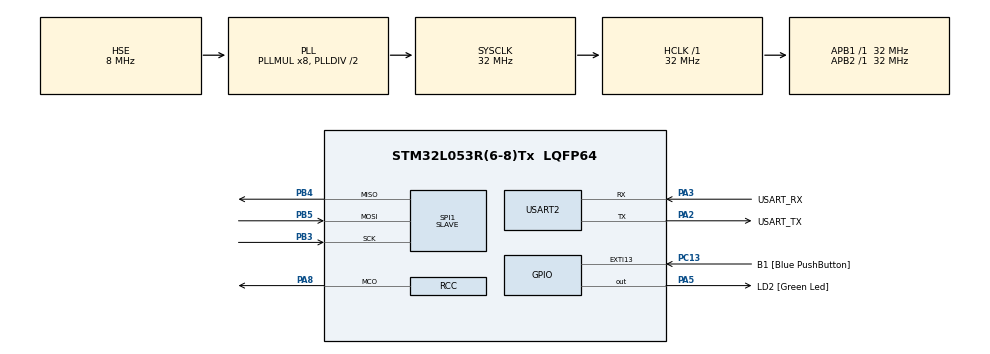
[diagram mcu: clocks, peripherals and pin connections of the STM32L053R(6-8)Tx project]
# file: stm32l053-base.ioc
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Mcu.Family=STM32L0
Mcu.Name=STM32L053R(6-8)Tx
Mcu.Package=LQFP64
NVIC.RCC_CRS_IRQn=true\:0\:0\:false\:false\:true\:true\:false
NVIC.SPI1_IRQn=true\:0\:0\:false\:false\:true\:true\:true
PA13.GPIO_Label=TMS
PA13.Mode=Serial_Wire
PA13.Signal=SYS_SWDIO
PA14.GPIO_Label=TCK
PA14.Mode=Serial_Wire
PA14.Signal=SYS_SWCLK
PA2.GPIO_Label=USART_TX
PA2.Mode=Asynchronous
PA2.Signal=USART2_TX
PA3.GPIO_Label=USART_RX
PA3.Mode=Asynchronous
PA3.Signal=USART2_RX
PA5.GPIO_Label=LD2 [Green Led]
PA5.Signal=GPIO_Output
PA8.GPIO_Speed=GPIO_SPEED_FREQ_VERY_HIGH
PA8.Mode=Clock-out
PA8.Signal=RCC_MCO
PB3.Mode=Full_Duplex_Slave
PB3.Signal=SPI1_SCK
PB4.Mode=Full_Duplex_Slave
PB4.Signal=SPI1_MISO
PB5.Mode=Full_Duplex_Slave
PB5.Signal=SPI1_MOSI
PC13.GPIO_Label=B1 [Blue PushButton]
PC13.GPIO_ModeDefaultEXTI=GPIO_MODE_IT_FALLING
PC13.Signal=GPXTI13
PC14-OSC32_IN.Mode=LSE-External-Oscillator
PC14-OSC32_IN.Signal=RCC_OSC32_IN
PC15-OSC32_OUT.Mode=LSE-External-Oscillator
PC15-OSC32_OUT.Signal=RCC_OSC32_OUT
PH0-OSC_IN.Mode=HSE-External-Clock-Source
PH0-OSC_IN.Signal=RCC_OSC_IN
PH1-OSC_OUT.Signal=RCC_OSC_OUT
ProjectManager.HeapSize=0x200
ProjectManager.StackSize=0x400
ProjectManager.TargetToolchain=MDK-ARM V5
RCC.AHBFreq_Value=32000000
RCC.APB1Freq_Value=32000000
RCC.APB1TimFreq_Value=32000000
RCC.APB2Freq_Value=32000000
RCC.APB2TimFreq_Value=32000000
RCC.HCLKFreq_Value=32000000
RCC.HSE_VALUE=8000000
RCC.HSI16_VALUE=16000000
RCC.HSI48_VALUE=48000000
RCC.HSI_VALUE=16000000
RCC.MSI_VALUE=2097000
RCC.PLLMUL=RCC_PLLMUL_8
RCC.PLLSourceVirtual=RCC_PLLSOURCE_HSE
RCC.SYSCLKFreq_VALUE=32000000
RCC.SYSCLKSource=RCC_SYSCLKSOURCE_PLLCLK
RCC.Usart2ClockSelection=RCC_USART2CLKSOURCE_SYSCLK
RCC.VCOOutputFreq_Value=64000000
SPI1.Direction=SPI_DIRECTION_2LINES
SPI1.Mode=SPI_MODE_SLAVE
SPI1.VirtualType=VM_SLAVE
USART2.VirtualMode-Asynchronous=VM_ASYNC
board=NUCLEO-L053R8

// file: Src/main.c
/* USER CODE BEGIN Header */
/**
  ******************************************************************************
  * @file           : main.c
  * @brief          : Main program body
  ******************************************************************************
  * @attention
  *
  * <h2><center>&copy; Copyright (c) 2019 STMicroelectronics.
  * All rights reserved.</center></h2>
  *
  * This software component is licensed by ST under BSD 3-Clause license,
  * the "License"; You may not use this file except in compliance with the
  * License. You may obtain a copy of the License at:
  *                        opensource.org/licenses/BSD-3-Clause
  *
  ******************************************************************************
  */
/* USER CODE END Header */

#include "main.h"

/* USER CODE BEGIN Includes */
#include <stdio.h>
#include <string.h>
#include <stdlib.h>
#ifdef __GNUC__
	/* With GCC/RAISONANCE, small printf (option LD Linker->Libraries->Small printf
		 set to 'Yes') calls __io_putchar() */
	#define PUTCHAR_PROTOTYPE int __io_putchar(int ch)
#else
	#define PUTCHAR_PROTOTYPE int fputc(int ch, FILE *f)
#endif /* __GNUC__ */

#define BUFFERSIZE  38U

/* USER CODE END Includes */

/* USER CODE BEGIN PTD */
static void hexDump(char *desc, void *addr, int len);

/* USER CODE END PTD */

SPI_HandleTypeDef hspi1;

UART_HandleTypeDef huart2;

/* USER CODE BEGIN PV */

enum {
	TRANSFER_WAIT,
	TRANSFER_COMPLETE,
	TRANSFER_ERROR
};

/* Buffer used for reception */
uint8_t aRxBuffer[BUFFERSIZE];

/* transfer state */
__IO uint32_t wTransferState = TRANSFER_WAIT;
__IO uint32_t prev_wTransferState = TRANSFER_WAIT;
/* USER CODE END PV */

void SystemClock_Config(void);
static void MX_GPIO_Init(void);
static void MX_SPI1_Init(void);
static void MX_USART2_UART_Init(void);

/* USER CODE BEGIN 0 */

PUTCHAR_PROTOTYPE
{
	HAL_UART_Transmit(&huart2, (uint8_t *)&ch, 1, 0x0f);

  return ch;
}

/* USER CODE END 0 */

int main(void)
{
  /* USER CODE BEGIN 1 */
  uint32_t last_wTick;

  /* USER CODE END 1 */

  /* MCU Configuration--------------------------------------------------------*/

  /* Reset of all peripherals, Initializes the Flash interface and the Systick. */
  HAL_Init();

  /* Configure the system clock */
  SystemClock_Config();

  /* Initialize all configured peripherals */
  MX_GPIO_Init();
  MX_SPI1_Init();
  MX_USART2_UART_Init();
  /* USER CODE BEGIN 2 */

  printf("Edgespace 2019\r\n");
  printf("Starting Interrupt Receive\r\n");

  /* start TransmitReceive process */
  if(HAL_SPI_Receive_IT(&hspi1,(uint8_t *)aRxBuffer, BUFFERSIZE) != HAL_OK ){
	  printf("Error Setting up SPI receive\r\n");
	  Error_Handler();
  }

  /* USER CODE END 2 */

  /* Infinite loop */
  /* USER CODE BEGIN WHILE */
	last_wTick = HAL_GetTick();
  while (1)
  {
    /* USER CODE END WHILE */

    /* USER CODE BEGIN 3 */
		if((HAL_GetTick() - last_wTick)>= 500){
			last_wTick = HAL_GetTick();
			HAL_GPIO_TogglePin(LD2_GPIO_Port, LD2_Pin);

		}

		if(prev_wTransferState != wTransferState){
			/* state changed */
			switch(wTransferState){
			case TRANSFER_WAIT:
				printf("TRANSFER WAITING\r\n");
				break;
			case TRANSFER_COMPLETE:
				printf("TRANSFER COMPLETE\r\n");
				/* handle buffer */
				hexDump("Received Buffer",aRxBuffer, BUFFERSIZE);
				break;
			case TRANSFER_ERROR:
			default:
				printf("TRANSFER ERROR\r\n");
				Error_Handler();
				break;
			}
			prev_wTransferState = wTransferState;
		}
  }
  /* USER CODE END 3 */
}

void SystemClock_Config(void)
{
  RCC_OscInitTypeDef RCC_OscInitStruct = {0};
  RCC_ClkInitTypeDef RCC_ClkInitStruct = {0};
  RCC_PeriphCLKInitTypeDef PeriphClkInit = {0};

  /** Configure the main internal regulator output voltage
  */
  __HAL_PWR_VOLTAGESCALING_CONFIG(PWR_REGULATOR_VOLTAGE_SCALE1);
  /** Initializes the CPU, AHB and APB busses clocks
  */
  RCC_OscInitStruct.OscillatorType = RCC_OSCILLATORTYPE_HSE;
  RCC_OscInitStruct.HSEState = RCC_HSE_BYPASS;
  RCC_OscInitStruct.PLL.PLLState = RCC_PLL_ON;
  RCC_OscInitStruct.PLL.PLLSource = RCC_PLLSOURCE_HSE;
  RCC_OscInitStruct.PLL.PLLMUL = RCC_PLLMUL_8;
  RCC_OscInitStruct.PLL.PLLDIV = RCC_PLLDIV_2;
  if (HAL_RCC_OscConfig(&RCC_OscInitStruct) != HAL_OK)
  {
    Error_Handler();
  }
  /** Initializes the CPU, AHB and APB busses clocks
  */
  RCC_ClkInitStruct.ClockType = RCC_CLOCKTYPE_HCLK|RCC_CLOCKTYPE_SYSCLK
                              |RCC_CLOCKTYPE_PCLK1|RCC_CLOCKTYPE_PCLK2;
  RCC_ClkInitStruct.SYSCLKSource = RCC_SYSCLKSOURCE_PLLCLK;
  RCC_ClkInitStruct.AHBCLKDivider = RCC_SYSCLK_DIV1;
  RCC_ClkInitStruct.APB1CLKDivider = RCC_HCLK_DIV1;
  RCC_ClkInitStruct.APB2CLKDivider = RCC_HCLK_DIV1;

  if (HAL_RCC_ClockConfig(&RCC_ClkInitStruct, FLASH_LATENCY_1) != HAL_OK)
  {
    Error_Handler();
  }
  PeriphClkInit.PeriphClockSelection = RCC_PERIPHCLK_USART2;
  PeriphClkInit.Usart2ClockSelection = RCC_USART2CLKSOURCE_SYSCLK;
  if (HAL_RCCEx_PeriphCLKConfig(&PeriphClkInit) != HAL_OK)
  {
    Error_Handler();
  }
  HAL_RCC_MCOConfig(RCC_MCO1, RCC_MCO1SOURCE_SYSCLK, RCC_MCODIV_1);
}

static void MX_SPI1_Init(void)
{

  /* SPI1 parameter configuration*/
  hspi1.Instance = SPI1;
  hspi1.Init.Mode = SPI_MODE_SLAVE;
  hspi1.Init.Direction = SPI_DIRECTION_2LINES;
  hspi1.Init.DataSize = SPI_DATASIZE_8BIT;
  hspi1.Init.CLKPolarity = SPI_POLARITY_LOW;
  hspi1.Init.CLKPhase = SPI_PHASE_1EDGE;
  hspi1.Init.NSS = SPI_NSS_SOFT;
  hspi1.Init.FirstBit = SPI_FIRSTBIT_MSB;
  hspi1.Init.TIMode = SPI_TIMODE_DISABLE;
  hspi1.Init.CRCCalculation = SPI_CRCCALCULATION_DISABLE;
  hspi1.Init.CRCPolynomial = 7;
  if (HAL_SPI_Init(&hspi1) != HAL_OK)
  {
    Error_Handler();
  }

}

static void MX_USART2_UART_Init(void)
{

  huart2.Instance = USART2;
  huart2.Init.BaudRate = 115200;
  huart2.Init.WordLength = UART_WORDLENGTH_8B;
  huart2.Init.StopBits = UART_STOPBITS_1;
  huart2.Init.Parity = UART_PARITY_NONE;
  huart2.Init.Mode = UART_MODE_TX_RX;
  huart2.Init.HwFlowCtl = UART_HWCONTROL_NONE;
  huart2.Init.OverSampling = UART_OVERSAMPLING_16;
  huart2.Init.OneBitSampling = UART_ONE_BIT_SAMPLE_DISABLE;
  huart2.AdvancedInit.AdvFeatureInit = UART_ADVFEATURE_NO_INIT;
  if (HAL_UART_Init(&huart2) != HAL_OK)
  {
    Error_Handler();
  }

}

static void MX_GPIO_Init(void)
{
  GPIO_InitTypeDef GPIO_InitStruct = {0};

  /* GPIO Ports Clock Enable */
  __HAL_RCC_GPIOC_CLK_ENABLE();
  __HAL_RCC_GPIOH_CLK_ENABLE();
  __HAL_RCC_GPIOA_CLK_ENABLE();
  __HAL_RCC_GPIOB_CLK_ENABLE();

  /*Configure GPIO pin Output Level */
  HAL_GPIO_WritePin(LD2_GPIO_Port, LD2_Pin, GPIO_PIN_RESET);

  /*Configure GPIO pin : B1_Pin */
  GPIO_InitStruct.Pin = B1_Pin;
  GPIO_InitStruct.Mode = GPIO_MODE_IT_FALLING;
  GPIO_InitStruct.Pull = GPIO_NOPULL;
  HAL_GPIO_Init(B1_GPIO_Port, &GPIO_InitStruct);

  /*Configure GPIO pin : LD2_Pin */
  GPIO_InitStruct.Pin = LD2_Pin;
  GPIO_InitStruct.Mode = GPIO_MODE_OUTPUT_PP;
  GPIO_InitStruct.Pull = GPIO_NOPULL;
  GPIO_InitStruct.Speed = GPIO_SPEED_FREQ_LOW;
  HAL_GPIO_Init(LD2_GPIO_Port, &GPIO_InitStruct);

  /*Configure GPIO pin : PA8 */
  GPIO_InitStruct.Pin = GPIO_PIN_8;
  GPIO_InitStruct.Mode = GPIO_MODE_AF_PP;
  GPIO_InitStruct.Pull = GPIO_NOPULL;
  GPIO_InitStruct.Speed = GPIO_SPEED_FREQ_VERY_HIGH;
  GPIO_InitStruct.Alternate = GPIO_AF0_MCO;
  HAL_GPIO_Init(GPIOA, &GPIO_InitStruct);

}

/* USER CODE BEGIN 4 */

/**
  * @brief  SPI error callbacks.
  * @param  hspi: SPI handle
  * @note   This example shows a simple way to report transfer error, and you can
  *         add your own implementation.
  * @retval None
  */
void HAL_SPI_ErrorCallback(SPI_HandleTypeDef *hspi)
{
  wTransferState = TRANSFER_ERROR;
}

/**
  * @brief  TxRx Transfer completed callback.
  * @param  hspi: SPI handle
  * @note   This example shows a simple way to report end of Interrupt TxRx transfer, and
  *         you can add your own implementation.
  * @retval None
  */
void HAL_SPI_TxRxCpltCallback(SPI_HandleTypeDef *hspi)
{
  /* Turn LED4 on: Transfer in transmission/reception process is complete */
  wTransferState = TRANSFER_COMPLETE;
}

void HAL_SPI_RxCpltCallback(SPI_HandleTypeDef *hspi){

  wTransferState = TRANSFER_COMPLETE;
}

static void hexDump(char *desc, void *addr, int len)
{
    int i;
    unsigned char buff[17];
    unsigned char *pc = (unsigned char*)addr;

    // Output description if given.
    if (desc != NULL)
        printf ("%s:\r\n", desc);

    // Process every byte in the data.
    for (i = 0; i < len; i++) {
        // Multiple of 16 means new line (with line offset).

        if ((i % 16) == 0) {
            // Just don't print ASCII for the zeroth line.
            if (i != 0)
                printf("  %s\r\n", buff);

            // Output the offset.
            printf("  %04x ", i);
        }

        // Now the hex code for the specific character.
        printf(" %02x", pc[i]);

        // And store a printable ASCII character for later.
        if ((pc[i] < 0x20) || (pc[i] > 0x7e)) {
            buff[i % 16] = '.';
        } else {
            buff[i % 16] = pc[i];
        }

        buff[(i % 16) + 1] = '\0';
    }

    // Pad out last line if not exactly 16 characters.
    while ((i % 16) != 0) {
        printf("   ");
        i++;
    }

    // And print the final ASCII bit.
    printf("  %s\r\n", buff);
}
/* USER CODE END 4 */

void Error_Handler(void)
{
}

/************************ (C) COPYRIGHT STMicroelectronics *****END OF FILE****/
